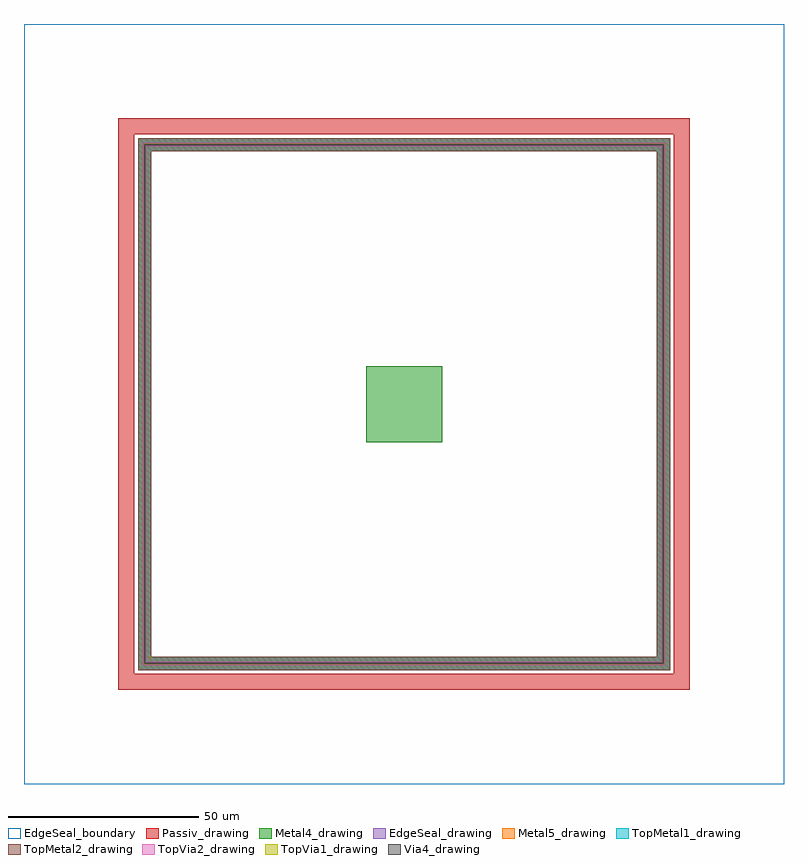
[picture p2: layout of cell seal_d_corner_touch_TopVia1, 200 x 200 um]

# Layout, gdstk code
import gdstk
lib = gdstk.Library(unit=1e-6, precision=1e-09)
def R(c, l, rs):  # rectangles x0, y0, x1, y1
    for r in rs: c.add(gdstk.rectangle(r[:2], r[2:], *l))
def P(c, l, *ps):  # polygons
    for p in ps: c.add(gdstk.Polygon(p, *l))
Passiv_drawing = (9, 0)
EdgeSeal_drawing = (39, 0)
EdgeSeal_boundary = (39, 4)
Metal4_drawing = (50, 0)
Via4_drawing = (66, 0)
Metal5_drawing = (67, 0)
TopVia1_drawing = (125, 0)
TopMetal1_drawing = (126, 0)
TopVia2_drawing = (133, 0)
TopMetal2_drawing = (134, 0)

seal_d_corner_touch_topv = lib.new_cell('seal_d_corner_touch_TopVia1')
P(seal_d_corner_touch_topv, Passiv_drawing, [(24.8,24.8),(24.8,171),(29,171),(29,29),(171,29),(171,171),(24.8,171),(24.8,175.2),(175.2,175.2),(175.2,24.8)])
P(seal_d_corner_touch_topv, EdgeSeal_drawing, [(30,30),(30,166.5),(33.5,166.5),(33.5,33.5),(166.5,33.5),(166.5,166.5),(30,166.5),(30,170),(170,170),(170,30)])
R(seal_d_corner_touch_topv, EdgeSeal_boundary, [(0,0,200,200)])
R(seal_d_corner_touch_topv, Metal4_drawing, [(90,90,110,110)])
P(seal_d_corner_touch_topv, Metal4_drawing, [(30,30),(30,166.5),(33.5,166.5),(33.5,33.5),(166.5,33.5),(166.5,166.5),(30,166.5),(30,170),(170,170),(170,30)])
P(seal_d_corner_touch_topv, Via4_drawing, [(31.655,31.655),(31.655,168.155),(31.845,168.155),(31.845,31.845),(168.155,31.845),(168.155,168.155),(31.655,168.155),(31.655,168.345),(168.345,168.345),(168.345,31.655)])
P(seal_d_corner_touch_topv, Metal5_drawing, [(30,30),(30,166.5),(33.5,166.5),(33.5,33.5),(166.5,33.5),(166.5,166.5),(30,166.5),(30,170),(170,170),(170,30)])
R(seal_d_corner_touch_topv, TopVia1_drawing, [(33.08,33.08,33.5,33.5)])
P(seal_d_corner_touch_topv, TopVia1_drawing, [(31.54,31.54),(31.54,168.04),(31.96,168.04),(31.96,31.96),(168.04,31.96),(168.04,168.04),(31.54,168.04),(31.54,168.46),(168.46,168.46),(168.46,31.54)])
P(seal_d_corner_touch_topv, TopMetal1_drawing, [(30,30),(30,166.5),(33.5,166.5),(33.5,33.5),(166.5,33.5),(166.5,166.5),(30,166.5),(30,170),(170,170),(170,30)])
P(seal_d_corner_touch_topv, TopVia2_drawing, [(31.3,31.3),(31.3,167.8),(32.2,167.8),(32.2,32.2),(167.8,32.2),(167.8,167.8),(31.3,167.8),(31.3,168.7),(168.7,168.7),(168.7,31.3)])
P(seal_d_corner_touch_topv, TopMetal2_drawing, [(30,30),(30,166.5),(33.5,166.5),(33.5,33.5),(166.5,33.5),(166.5,166.5),(30,166.5),(30,170),(170,170),(170,30)])

lib.write_gds('seal_d_corner_touch_TopVia1.gds')
